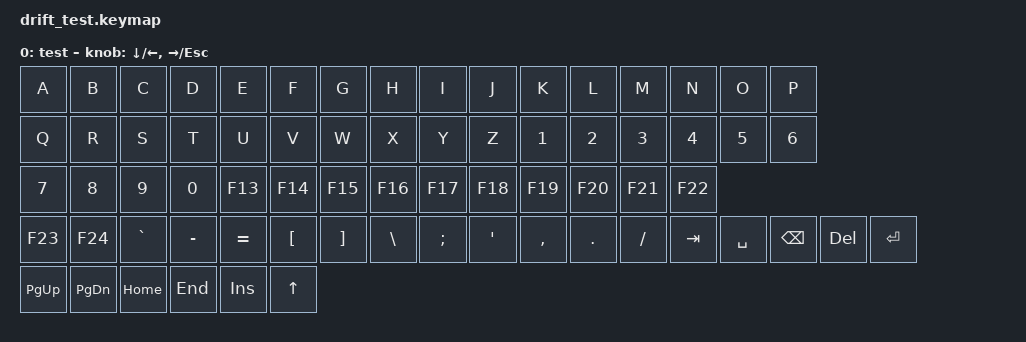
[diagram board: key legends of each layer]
// GENERATED by tools/generate.py - do not edit.
//
// Test Firmware: every Binding Slot and every encoder direction emits a distinct
// plain keycode, so a browser can prove each switch individually. See
// docs/adr/0001-separate-test-firmware.md. Never leave this on the board.

#include <behaviors.dtsi>
#include <dt-bindings/zmk/keys.h>

/ {
    keymap {
        compatible = "zmk,keymap";

        default_layer {
            display-name = "test";
            bindings = <
                &kp A           &kp B           &kp C           &kp D           &kp E           &kp F           &kp G           &kp H           &kp I           &kp J           &kp K           &kp L           &kp M           &kp N           &kp O           &kp P
                &kp Q           &kp R           &kp S           &kp T           &kp U           &kp V           &kp W           &kp X           &kp Y           &kp Z           &kp N1          &kp N2          &kp N3          &kp N4          &kp N5          &kp N6
                &kp N7          &kp N8          &kp N9          &kp N0          &kp F13         &kp F14         &kp F15         &kp F16         &kp F17         &kp F18         &kp F19         &kp F20         &kp F21         &kp F22
                &kp F23         &kp F24         &kp GRAVE       &kp MINUS       &kp EQUAL       &kp LBKT        &kp RBKT        &kp BSLH        &kp SEMI        &kp SQT         &kp COMMA       &kp DOT         &kp FSLH        &kp TAB         &kp SPACE       &kp BSPC        &kp DEL         &kp ENTER
                &kp PG_UP       &kp PG_DN       &kp HOME        &kp END         &kp INS         &kp UP
            >;

            sensor-bindings = <&inc_dec_kp DOWN LEFT>, <&inc_dec_kp RIGHT ESC>;
        };
    };
};
